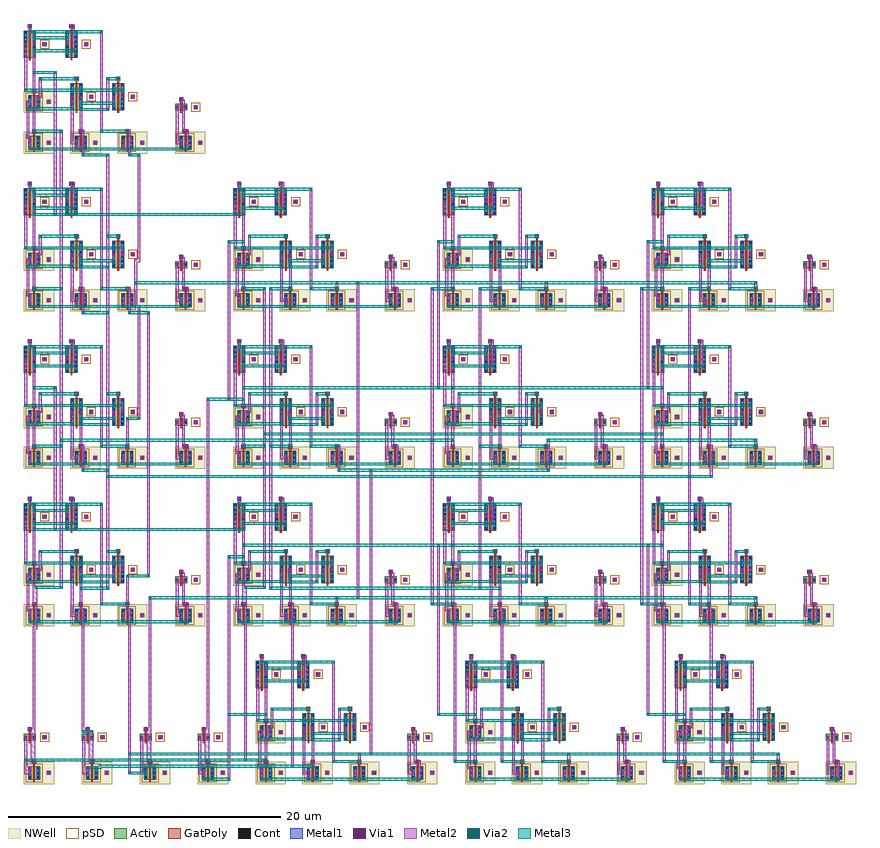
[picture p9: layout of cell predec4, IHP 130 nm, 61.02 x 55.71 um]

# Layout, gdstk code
import gdstk
lib = gdstk.Library(unit=1e-6, precision=1e-09)
def R(c, l, rs):  # rectangles x0, y0, x1, y1
    for r in rs: c.add(gdstk.rectangle(r[:2], r[2:], *l))
def A(c, l, x, y, w, h, nx, ny, dx, dy):  # array of equal rectangles
    R(c, l, [(x+i*dx, y+j*dy, x+i*dx+w, y+j*dy+h) for i in range(nx) for j in range(ny)])
Activ = (1, 0)
GatPoly = (5, 0)
Cont = (6, 0)
Metal1 = (8, 0)
Metal2 = (10, 0)
pSD = (14, 0)
Via1 = (19, 0)
Via2 = (29, 0)
Metal3 = (30, 0)
NWell = (31, 0)

sg13_lv_pmos_w1_l0p13 = lib.new_cell('sg13_lv_pmos_w1_l0p13')
R(sg13_lv_pmos_w1_l0p13, Activ, [(0,0,0.89,1), (1.37,0.35,1.67,0.65)])
R(sg13_lv_pmos_w1_l0p13, GatPoly, [(0.38,-0.18,0.51,1.2), (0.295,1.18,0.595,1.48)])
A(sg13_lv_pmos_w1_l0p13, Cont, 0.07, 0.08, 0.16, 0.16, 1, 3, 0, 0.34)
A(sg13_lv_pmos_w1_l0p13, Cont, 0.66, 0.08, 0.16, 0.16, 1, 3, 0, 0.34)
R(sg13_lv_pmos_w1_l0p13, Cont, [(1.44,0.42,1.6,0.58), (0.365,1.25,0.525,1.41)])
R(sg13_lv_pmos_w1_l0p13, Metal1, [(0.05,0.03,0.25,0.97), (0.64,0.03,0.84,0.97), (1.375,0.355,1.665,0.645), (0.315,1.2,0.575,1.46)])
R(sg13_lv_pmos_w1_l0p13, Metal2, [(1.375,0.355,1.665,0.645)])
R(sg13_lv_pmos_w1_l0p13, pSD, [(-0.18,-0.18,1.07,1.18)])
R(sg13_lv_pmos_w1_l0p13, Via1, [(1.425,0.405,1.615,0.595)])
R(sg13_lv_pmos_w1_l0p13, NWell, [(-0.31,-0.31,1.91,1.31)])

sg13_lv_nmos_w0p5_l0p13 = lib.new_cell('sg13_lv_nmos_w0p5_l0p13')
R(sg13_lv_nmos_w0p5_l0p13, Activ, [(0,0,0.89,0.5), (1.37,0.1,1.67,0.4)])
R(sg13_lv_nmos_w0p5_l0p13, GatPoly, [(0.38,-0.18,0.51,0.7), (0.295,0.68,0.595,0.98)])
R(sg13_lv_nmos_w0p5_l0p13, Cont, [(0.07,0.17,0.23,0.33), (0.66,0.17,0.82,0.33), (1.44,0.17,1.6,0.33), (0.365,0.75,0.525,0.91)])
R(sg13_lv_nmos_w0p5_l0p13, Metal1, [(1.375,0.105,1.665,0.395), (0.05,0.12,0.25,0.38), (0.64,0.12,0.84,0.38), (0.315,0.7,0.575,0.96)])
R(sg13_lv_nmos_w0p5_l0p13, Metal2, [(1.375,0.105,1.665,0.395)])
R(sg13_lv_nmos_w0p5_l0p13, pSD, [(1.19,-0.08,1.85,0.58)])
R(sg13_lv_nmos_w0p5_l0p13, Via1, [(1.425,0.155,1.615,0.345)])

inv = lib.new_cell('inv')
R(inv, Metal1, [(0.345,0.695,0.555,0.905), (0.645,1.545,0.855,1.755), (0.045,3.295,0.255,3.505), (0.345,3.895,0.555,4.105)])
R(inv, Metal2, [(0.05,0.7,0.25,3.5), (0.05,0.7,0.55,0.9), (0.35,0.7,0.55,0.9), (0.5,1.55,0.85,1.75), (0.5,1.55,0.7,3.95), (0.65,1.55,0.85,1.75), (0.05,3.3,0.25,3.5), (0.35,3.75,0.55,4.1), (0.35,3.75,0.7,3.95), (0.35,3.9,0.55,4.1)])
R(inv, Via1, [(0.355,0.705,0.545,0.895), (0.655,1.555,0.845,1.745), (0.055,3.305,0.245,3.495), (0.355,3.905,0.545,4.095)])
inv.add(gdstk.Reference(sg13_lv_pmos_w1_l0p13, (0.31,0.31)))
inv.add(gdstk.Reference(sg13_lv_nmos_w0p5_l0p13, (0,3.17)))
inv.add(gdstk.Label('Y', (0.46,0.81), layer=8, texttype=25))
inv.add(gdstk.Label('A', (0.755,1.64), layer=8, texttype=25))
inv.add(gdstk.Label('VDD', (1.05,0.81), layer=8, texttype=25))
inv.add(gdstk.Label('VDD', (1.83,0.81), layer=8, texttype=25))
inv.add(gdstk.Label('Y', (0.15,3.42), layer=8, texttype=25))
inv.add(gdstk.Label('A', (0.445,4), layer=8, texttype=25))
inv.add(gdstk.Label('VSS', (0.74,3.42), layer=8, texttype=25))
inv.add(gdstk.Label('VSS', (1.52,3.42), layer=8, texttype=25))

sg13_lv_nmos_w2_l0p13 = lib.new_cell('sg13_lv_nmos_w2_l0p13')
R(sg13_lv_nmos_w2_l0p13, Activ, [(0,0,0.89,2), (1.37,0.85,1.67,1.15)])
R(sg13_lv_nmos_w2_l0p13, GatPoly, [(0.38,-0.18,0.51,2.2), (0.295,2.18,0.595,2.48)])
A(sg13_lv_nmos_w2_l0p13, Cont, 0.07, 0.07, 0.16, 0.16, 1, 6, 0, 0.34)
A(sg13_lv_nmos_w2_l0p13, Cont, 0.66, 0.07, 0.16, 0.16, 1, 6, 0, 0.34)
R(sg13_lv_nmos_w2_l0p13, Cont, [(1.44,0.92,1.6,1.08), (0.365,2.25,0.525,2.41)])
R(sg13_lv_nmos_w2_l0p13, Metal1, [(0.05,0.02,0.25,1.98), (0.64,0.02,0.84,1.98), (1.375,0.855,1.665,1.145), (0.315,2.2,0.575,2.46)])
R(sg13_lv_nmos_w2_l0p13, Metal2, [(1.375,0.855,1.665,1.145)])
R(sg13_lv_nmos_w2_l0p13, pSD, [(1.19,0.67,1.85,1.33)])
R(sg13_lv_nmos_w2_l0p13, Via1, [(1.425,0.905,1.615,1.095)])

nand4 = lib.new_cell('nand4')
R(nand4, Metal1, [(0.345,0.695,0.555,0.905), (3.795,0.695,4.005,0.905), (7.195,0.695,7.405,0.905), (0.645,1.545,0.855,1.755), (4.095,1.545,4.305,1.755), (7.495,1.545,7.705,1.755), (0.345,3.695,0.555,3.905), (3.445,4.045,3.655,4.255), (4.045,4.045,4.255,4.255), (6.495,4.045,6.705,4.255), (7.095,4.045,7.305,4.255), (0.645,4.545,0.855,4.755), (3.745,5.395,3.955,5.605), (6.795,5.395,7.005,5.605), (0.045,7.945,0.255,8.155), (0.645,7.945,0.855,8.155), (3.095,7.945,3.305,8.155), (0.345,9.245,0.555,9.455), (3.395,9.245,3.605,9.455)])
R(nand4, Metal2, [(3.8,0.25,4,0.45), (3.8,0.25,4,0.9), (7.2,0.25,7.4,0.45), (7.2,0.25,7.4,0.9), (0.35,0.7,0.55,0.9), (0.35,0.7,0.55,1.3), (3.45,0.7,3.65,3.4), (3.45,0.7,4,0.9), (3.8,0.7,4,0.9), (7.2,0.7,7.4,0.9), (0.2,1.1,0.55,1.3), (0.2,1.1,0.4,3.9), (0.65,1.55,0.85,1.75), (0.65,1.55,0.85,3.45), (4.1,1.55,4.3,1.75), (4.1,1.55,4.3,3.35), (5.6,1.55,5.8,1.75), (5.6,1.55,5.8,9.05), (7.5,1.55,7.7,1.75), (7.5,1.55,7.7,1.75), (4.1,3.15,4.3,3.35), (6.05,3.15,6.25,3.35), (6.05,3.15,6.25,5.6), (0.2,3.2,0.4,3.4), (3.45,3.2,3.65,3.4), (3.45,3.2,3.65,4.25), (0.65,3.25,1,3.45), (0.8,3.25,1,4.3), (4.05,3.6,4.25,3.8), (4.05,3.6,4.25,4.25), (6.5,3.6,6.7,3.8), (6.5,3.6,6.7,4.25), (0.2,3.7,0.55,3.9), (0.35,3.7,0.55,3.9), (3.45,4.05,3.65,4.25), (4.05,4.05,4.25,4.25), (6.5,4.05,6.7,4.25), (7.1,4.05,7.3,4.25), (7.1,4.05,7.3,4.75), (0.8,4.1,1.3,4.3), (1.1,4.1,1.3,5.6), (0.05,4.55,0.25,4.75), (0.05,4.55,0.25,8.15), (0.65,4.55,0.85,4.75), (0.65,4.55,0.85,7.65), (7.1,4.55,7.3,4.75), (1.1,5.4,1.3,5.6), (3.75,5.4,3.95,5.6), (3.75,5.4,3.95,5.6), (6.05,5.4,6.25,5.6), (6.8,5.4,7,5.6), (6.8,5.4,7,5.6), (0.65,7.45,0.85,7.65), (3.55,7.45,3.75,7.65), (3.55,7.45,3.75,9.45), (0.05,7.95,0.25,8.15), (0.65,7.95,0.85,8.15), (0.65,7.95,0.85,8.6), (3.1,7.95,3.3,8.15), (3.1,7.95,3.3,8.6), (0.65,8.4,0.85,8.6), (3.1,8.4,3.3,8.6), (0.35,8.85,0.55,9.05), (0.35,8.85,0.55,9.45), (5.6,8.85,5.8,9.05), (0.35,9.25,0.55,9.45), (3.4,9.25,3.6,9.45), (3.4,9.25,3.75,9.45)])
R(nand4, Via1, [(0.355,0.705,0.545,0.895), (3.805,0.705,3.995,0.895), (7.205,0.705,7.395,0.895), (0.655,1.555,0.845,1.745), (4.105,1.555,4.295,1.745), (7.505,1.555,7.695,1.745), (0.355,3.705,0.545,3.895), (3.455,4.055,3.645,4.245), (4.055,4.055,4.245,4.245), (6.505,4.055,6.695,4.245), (7.105,4.055,7.295,4.245), (0.655,4.555,0.845,4.745), (3.755,5.405,3.945,5.595), (6.805,5.405,6.995,5.595), (0.055,7.955,0.245,8.145), (0.655,7.955,0.845,8.145), (3.105,7.955,3.295,8.145), (0.355,9.255,0.545,9.445), (3.405,9.255,3.595,9.445)])
R(nand4, Via2, [(3.805,0.255,3.995,0.445), (7.205,0.255,7.395,0.445), (5.605,1.555,5.795,1.745), (7.505,1.555,7.695,1.745), (4.105,3.155,4.295,3.345), (6.055,3.155,6.245,3.345), (0.205,3.205,0.395,3.395), (3.455,3.205,3.645,3.395), (4.055,3.605,4.245,3.795), (6.505,3.605,6.695,3.795), (0.055,4.555,0.245,4.745), (7.105,4.555,7.295,4.745), (1.105,5.405,1.295,5.595), (3.755,5.405,3.945,5.595), (6.055,5.405,6.245,5.595), (6.805,5.405,6.995,5.595), (0.655,7.455,0.845,7.645), (3.555,7.455,3.745,7.645), (0.655,8.405,0.845,8.595), (3.105,8.405,3.295,8.595), (0.355,8.855,0.545,9.045), (5.605,8.855,5.795,9.045)])
R(nand4, Metal3, [(3.8,0.25,4,0.45), (3.8,0.25,7.4,0.45), (7.2,0.25,7.4,0.45), (5.6,1.55,5.8,1.75), (5.6,1.55,7.7,1.75), (7.5,1.55,7.7,1.75), (4.1,3.15,4.3,3.35), (4.1,3.15,6.25,3.35), (6.05,3.15,6.25,3.35), (0.2,3.2,0.4,3.4), (0.2,3.2,3.65,3.4), (3.45,3.2,3.65,3.4), (4.05,3.6,4.25,3.8), (4.05,3.6,6.7,3.8), (6.5,3.6,6.7,3.8), (0.05,4.55,0.25,4.75), (0.05,4.55,7.3,4.75), (7.1,4.55,7.3,4.75), (1.1,5.4,1.3,5.6), (1.1,5.4,3.95,5.6), (3.75,5.4,3.95,5.6), (6.05,5.4,6.25,5.6), (6.05,5.4,7,5.6), (6.8,5.4,7,5.6), (0.65,7.45,0.85,7.65), (0.65,7.45,3.75,7.65), (3.55,7.45,3.75,7.65), (0.65,8.4,0.85,8.6), (0.65,8.4,3.3,8.6), (3.1,8.4,3.3,8.6), (0.35,8.85,0.55,9.05), (0.35,8.85,5.8,9.05), (5.6,8.85,5.8,9.05)])
nand4.add(gdstk.Reference(sg13_lv_pmos_w1_l0p13, (0.31,0.31)))
nand4.add(gdstk.Reference(sg13_lv_pmos_w1_l0p13, (3.73,0.31)))
nand4.add(gdstk.Reference(sg13_lv_pmos_w1_l0p13, (7.15,0.31)))
nand4.add(gdstk.Reference(sg13_lv_pmos_w1_l0p13, (0.31,3.3)))
nand4.add(gdstk.Reference(sg13_lv_nmos_w2_l0p13, (3.42,3.17)))
nand4.add(gdstk.Reference(sg13_lv_nmos_w2_l0p13, (6.47,3.17)))
nand4.add(gdstk.Reference(sg13_lv_nmos_w2_l0p13, (0,7.03)))
nand4.add(gdstk.Reference(sg13_lv_nmos_w2_l0p13, (3.05,7.03)))
nand4.add(gdstk.Label('Y', (0.46,0.81), layer=8, texttype=25))
nand4.add(gdstk.Label('A', (0.755,1.64), layer=8, texttype=25))
nand4.add(gdstk.Label('VDD', (1.05,0.81), layer=8, texttype=25))
nand4.add(gdstk.Label('VDD', (1.83,0.81), layer=8, texttype=25))
nand4.add(gdstk.Label('Y', (3.88,0.81), layer=8, texttype=25))
nand4.add(gdstk.Label('B', (4.175,1.64), layer=8, texttype=25))
nand4.add(gdstk.Label('VDD', (4.47,0.81), layer=8, texttype=25))
nand4.add(gdstk.Label('VDD', (5.25,0.81), layer=8, texttype=25))
nand4.add(gdstk.Label('Y', (7.3,0.81), layer=8, texttype=25))
nand4.add(gdstk.Label('C', (7.595,1.64), layer=8, texttype=25))
nand4.add(gdstk.Label('VDD', (7.89,0.81), layer=8, texttype=25))
nand4.add(gdstk.Label('VDD', (8.67,0.81), layer=8, texttype=25))
nand4.add(gdstk.Label('Y', (0.46,3.8), layer=8, texttype=25))
nand4.add(gdstk.Label('D', (0.755,4.63), layer=8, texttype=25))
nand4.add(gdstk.Label('VDD', (1.05,3.8), layer=8, texttype=25))
nand4.add(gdstk.Label('VDD', (1.83,3.8), layer=8, texttype=25))
nand4.add(gdstk.Label('Y', (3.57,4.17), layer=8, texttype=25))
nand4.add(gdstk.Label('A', (3.865,5.5), layer=8, texttype=25))
nand4.add(gdstk.Label('N1', (4.16,4.17), layer=8, texttype=25))
nand4.add(gdstk.Label('VSS', (4.94,4.17), layer=8, texttype=25))
nand4.add(gdstk.Label('N1', (6.62,4.17), layer=8, texttype=25))
nand4.add(gdstk.Label('B', (6.915,5.5), layer=8, texttype=25))
nand4.add(gdstk.Label('N2', (7.21,4.17), layer=8, texttype=25))
nand4.add(gdstk.Label('VSS', (7.99,4.17), layer=8, texttype=25))
nand4.add(gdstk.Label('N2', (0.15,8.03), layer=8, texttype=25))
nand4.add(gdstk.Label('C', (0.445,9.36), layer=8, texttype=25))
nand4.add(gdstk.Label('N3', (0.74,8.03), layer=8, texttype=25))
nand4.add(gdstk.Label('VSS', (1.52,8.03), layer=8, texttype=25))
nand4.add(gdstk.Label('N3', (3.2,8.03), layer=8, texttype=25))
nand4.add(gdstk.Label('D', (3.495,9.36), layer=8, texttype=25))
nand4.add(gdstk.Label('VSS', (3.79,8.03), layer=8, texttype=25))
nand4.add(gdstk.Label('VSS', (4.57,8.03), layer=8, texttype=25))

predec4 = lib.new_cell('predec4')
A(predec4, Metal2, 17.35, 0.25, 0.2, 0.65, 3, 1, 15.35, 0)
A(predec4, Metal2, 28.9, 0.25, 0.2, 1.5, 3, 1, 15.35, 0)
A(predec4, Metal2, 24.5, 1.55, 0.2, 0.75, 3, 1, 15.35, 0)
A(predec4, Metal2, 28.75, 1.55, 0.35, 0.2, 3, 1, 15.35, 0)
A(predec4, Metal2, 17.65, 4.55, 0.2, 0.65, 3, 1, 15.35, 0)
A(predec4, Metal2, 14.95, 5, 0.2, 0.2, 1, 4, 0, 11.55)
A(predec4, Metal2, 0.35, 11.8, 0.2, 0.2, 1, 4, 0, 11.55)
A(predec4, Metal2, 0.35, 11.8, 0.2, 0.65, 4, 3, 15.35, 11.55)
A(predec4, Metal2, 11.9, 11.8, 0.2, 0.2, 1, 4, 0, 11.55)
A(predec4, Metal2, 11.9, 11.8, 0.2, 1.5, 4, 3, 15.35, 11.55)
A(predec4, Metal2, 15.7, 11.8, 0.2, 0.2, 1, 3, 0, 11.55)
A(predec4, Metal2, 27.25, 11.8, 0.2, 0.2, 1, 3, 0, 11.55)
A(predec4, Metal2, 31.05, 11.8, 0.2, 0.2, 1, 3, 0, 11.55)
A(predec4, Metal2, 42.6, 11.8, 0.2, 0.2, 1, 3, 0, 11.55)
A(predec4, Metal2, 46.4, 11.8, 0.2, 0.2, 1, 3, 0, 11.55)
A(predec4, Metal2, 57.95, 11.8, 0.2, 0.2, 1, 3, 0, 11.55)
A(predec4, Metal2, 4.1, 13.1, 0.2, 1.35, 3, 1, 15.35, 0)
A(predec4, Metal2, 22.85, 13.1, 0.2, 0.65, 3, 2, 15.35, 23.1)
A(predec4, Metal2, 53.55, 13.55, 0.2, 0.2, 1, 3, 0, 11.55)
A(predec4, Metal2, 4.25, 22.9, 0.2, 0.2, 1, 3, 0, 11.55)
A(predec4, Metal2, 4.25, 22.9, 0.2, 1.95, 1, 3, 0, 11.55)
A(predec4, Metal2, 6.05, 22.9, 0.2, 0.2, 1, 3, 0, 11.55)
A(predec4, Metal2, 4.1, 24.65, 0.35, 0.2, 1, 3, 0, 11.55)
A(predec4, Metal2, 11.75, 36.2, 0.35, 0.2, 4, 1, 15.35, 0)
R(predec4, Metal2, [(13.1,0.25,13.3,0.45), (13.1,0.25,13.3,0.9), (14.95,0.25,15.15,0.45), (14.95,0.25,15.15,5.2), (17.35,0.25,17.55,0.45), (28.9,0.25,29.1,0.45), (32.7,0.25,32.9,0.45), (44.25,0.25,44.45,0.45), (48.05,0.25,48.25,0.45), (59.6,0.25,59.8,0.45), (0.35,0.7,0.55,1.3), (4.6,0.7,4.8,1.3), (7.65,0.7,7.85,0.9), (7.65,0.7,7.85,12.9), (8.85,0.7,9.05,0.9), (0.25,0.9,0.35,1.1), (4.5,0.9,4.6,1.3), (0.05,1.1,0.25,1.85), (0.05,1.1,0.55,1.3), (4.6,1.1,4.8,1.3), (19.6,1.2,19.8,1.4), (19.6,1.2,19.8,13.3), (21.1,1.2,21.3,1.4), (21.1,1.2,21.3,1.75), (0.65,1.55,0.85,11.55), (4.9,1.55,5.1,3.95), (9.15,1.55,9.35,13.75), (13.4,1.55,13.6,28.3), (17.65,1.55,17.85,1.85), (31.5,1.55,31.7,13.3), (31.5,1.55,31.7,1.75), (33,1.55,33.2,1.75), (34.95,1.55,35.15,1.75), (34.95,1.55,35.15,12.9), (36.45,1.55,36.65,1.75), (46.85,1.55,47.05,13.3), (46.85,1.55,47.05,1.75), (48.35,1.55,48.55,1.75), (50.3,1.55,50.5,1.75), (50.3,1.55,50.5,12.9), (51.8,1.55,52,1.75), (0.05,1.65,0.25,1.85), (16.15,1.65,16.35,1.85), (16.15,1.65,16.35,13.3), (17.65,1.65,17.85,1.85), (7.65,2.1,7.85,2.3), (24.5,2.1,24.7,2.3), (25.35,2.1,25.55,2.3), (25.35,2.1,25.55,23.1), (39.85,2.1,40.05,2.3), (55.2,2.1,55.4,2.3), (4.25,3.75,4.45,3.95), (4.25,3.75,4.45,12.9), (4.45,3.75,4.6,4.1), (4.9,3.75,5.1,3.95), (0.55,3.95,0.65,4.1), (9.05,3.95,9.15,4.1), (13.3,3.95,13.4,4.1), (14.95,5,15.15,16.75), (17.65,5,17.85,5.2), (30.3,5,30.5,5.2), (30.3,5,30.5,17.6), (33,5,33.2,5.2), (45.65,5,45.85,5.2), (45.65,5,45.85,17.6), (48.35,5,48.55,5.2), (0.65,11.35,1,11.55), (0.8,11.35,1,13.3), (4.1,12.7,4.45,12.9), (4.1,12.7,4.3,13.3), (7.5,12.7,7.85,12.9), (7.5,12.7,7.7,13.3), (34.8,12.7,35.15,12.9), (34.8,12.7,35,13.3), (50.15,12.7,50.5,12.9), (50.15,12.7,50.35,13.3), (0.65,13.1,1,13.3), (0.8,13.1,1,14.5), (7.5,13.1,7.7,15.35), (11.75,13.1,12.1,13.3), (16,13.1,16.35,13.3), (16.15,13.1,16.35,14.5), (19.45,13.1,19.8,13.3), (27.1,13.1,27.45,13.3), (29.85,13.1,30.05,13.3), (29.85,13.1,30.05,25.3), (31.35,13.1,31.55,13.3), (31.35,13.1,31.7,13.3), (42.45,13.1,42.8,13.3), (45.2,13.1,45.4,13.3), (45.2,13.1,45.4,25.75), (46.7,13.1,46.9,13.3), (46.7,13.1,47.05,13.3), (48.7,13.1,48.9,13.3), (48.7,13.1,48.9,22.65), (50.15,13.1,50.35,13.3), (57.8,13.1,58.15,13.3), (9.15,13.55,9.35,13.75), (22.85,13.55,23.05,13.75), (24.4,13.55,24.6,13.75), (24.4,13.55,24.6,36.85), (38.2,13.55,38.4,13.75), (4.1,14.25,4.3,14.45), (6.05,14.25,6.25,14.45), (6.05,14.25,6.25,23.1), (18,14.25,18.2,24.85), (18,14.25,18.2,14.45), (19.45,14.25,19.65,14.45), (33.35,14.25,33.55,24.85), (33.35,14.25,33.55,14.45), (34.8,14.25,35,14.45), (0.8,14.3,1,14.5), (2.65,14.3,2.85,14.5), (2.65,14.3,2.85,24.85), (16.15,14.3,16.35,14.5), (17.55,14.3,17.75,14.5), (17.55,14.3,17.75,24.85), (7.5,15.15,7.7,15.35), (9.05,15.15,9.25,34.65), (9.05,15.15,9.25,15.35), (0.65,16.1,0.85,18.75), (16,16.1,16.2,18.75), (31.35,16.1,31.55,17.6), (46.7,16.1,46.9,17.6), (16,16.55,16.2,16.75), (16,17.4,16.2,17.6), (30.3,17.4,30.5,17.6), (31.35,17.4,31.55,17.6), (45.65,17.4,45.85,17.6), (46.7,17.4,46.9,17.6), (0.65,18.55,0.85,18.75), (2.2,18.55,2.4,29.15), (2.2,18.55,2.4,18.75), (16,18.55,16.2,18.75), (6.05,22.45,6.25,22.65), (48.7,22.45,48.9,22.65), (48.7,22.45,48.9,36.4), (50.3,22.45,50.5,22.65), (50.3,22.45,50.5,24.85), (6.05,22.9,6.25,34.65), (23,22.9,23.2,23.1), (23,22.9,23.2,24.85), (25.35,22.9,25.55,23.1), (38.35,22.9,38.55,23.1), (38.35,22.9,38.55,24.85), (0.65,24.65,0.85,24.85), (2.65,24.65,2.85,36.4), (2.65,24.65,2.85,24.85), (7.5,24.65,7.7,26.9), (11.75,24.65,12.1,24.85), (16,24.65,16.2,24.85), (17.55,24.65,17.75,36.4), (17.55,24.65,17.75,24.85), (18,24.65,18.2,36.4), (18,24.65,18.2,24.85), (19.45,24.65,19.65,24.85), (22.85,24.65,23.2,24.85), (27.1,24.65,27.45,24.85), (31.35,24.65,31.55,25.3), (33.35,24.65,33.55,36.4), (33.35,24.65,33.55,24.85), (34.8,24.65,35,24.85), (38.2,24.65,38.55,24.85), (38.35,24.65,38.55,25.3), (42.45,24.65,42.8,24.85), (46.7,24.65,46.9,25.75), (50.15,24.65,50.5,24.85), (53.55,24.65,53.75,25.3), (57.8,24.65,58.15,24.85), (2.65,25.1,2.85,25.3), (29.85,25.1,30.05,25.3), (29.85,25.1,30.05,36.4), (31.35,25.1,31.55,25.3), (38.35,25.1,38.55,25.3), (17.55,25.55,17.75,25.75), (45.2,25.55,45.4,36.4), (45.2,25.55,45.4,25.75), (46.7,25.55,46.9,25.75), (7.5,26.7,7.7,26.9), (8.35,26.7,8.55,26.9), (8.35,26.7,8.55,35.1), (0.65,27.65,0.85,29.15), (16,27.65,16.2,28.3), (31.35,27.65,31.55,29.15), (46.7,27.65,46.9,29.15), (13.4,28.1,13.6,28.3), (14.95,28.1,15.15,39.85), (16,28.1,16.2,28.3), (16,28.1,16.2,29.15), (0.65,28.95,0.85,29.15), (2.2,28.95,2.4,29.15), (16,28.95,16.2,29.15), (30.3,28.95,30.5,29.15), (30.3,28.95,30.5,39.85), (31.35,28.95,31.55,29.15), (45.65,28.95,45.85,29.15), (45.65,28.95,45.85,39.85), (46.7,28.95,46.9,29.15), (6.05,34.45,6.25,46.2), (7.65,34.45,7.85,34.65), (7.65,34.45,7.85,36.4), (9.05,34.45,9.25,34.65), (8.1,34.9,8.55,35.1), (8.1,34.9,8.3,38.45), (0.65,36.2,0.85,36.4), (2.65,36.2,2.85,47.95), (2.65,36.2,2.85,36.4), (7.5,36.2,7.85,36.4), (16,36.2,16.2,36.4), (17.55,36.2,17.75,36.4), (18,36.2,18.2,36.4), (19.45,36.2,19.65,36.4), (29.85,36.2,30.05,36.4), (31.35,36.2,31.55,36.4), (33.35,36.2,33.55,36.4), (34.8,36.2,35,36.4), (45.2,36.2,45.4,36.4), (46.7,36.2,46.9,36.4), (48.7,36.2,48.9,36.4), (50.15,36.2,50.35,36.4), (8.1,36.65,8.3,36.85), (22.85,36.65,23.05,36.85), (24.4,36.65,24.6,36.85), (38.2,36.65,38.4,36.85), (8.1,38.25,8.55,38.45), (8.35,38.25,8.55,46.2), (0.65,39.2,0.85,41.85), (16,39.2,16.2,41.85), (31.35,39.2,31.55,39.85), (46.7,39.2,46.9,39.85), (16,39.65,16.2,39.85), (30.3,39.65,30.5,39.85), (31.35,39.65,31.55,39.85), (45.65,39.65,45.85,39.85), (46.7,39.65,46.9,39.85), (0.65,41.65,0.85,41.85), (2.2,41.65,2.4,52.25), (2.2,41.65,2.4,41.85), (16,41.65,16.2,41.85), (7.65,46,7.85,46.2), (7.65,46,7.85,47.95), (8.35,46,8.55,46.2), (0.35,46.45,0.55,47.1), (11.9,46.45,12.1,47.95), (0.65,47.75,0.85,47.95), (2.65,47.75,2.85,47.95), (7.5,47.75,7.85,47.95), (11.75,47.75,12.1,47.95), (0.65,50.75,0.85,52.25), (0.65,52.05,0.85,52.25), (2.2,52.05,2.4,52.25)])
A(predec4, Via2, 14.955, 5.005, 0.19, 0.19, 1, 4, 0, 11.55)
A(predec4, Via2, 0.355, 11.805, 0.19, 0.19, 1, 4, 0, 11.55)
A(predec4, Via2, 11.905, 11.805, 0.19, 0.19, 1, 4, 0, 11.55)
A(predec4, Via2, 15.705, 11.805, 0.19, 0.19, 1, 3, 0, 11.55)
A(predec4, Via2, 27.255, 11.805, 0.19, 0.19, 1, 3, 0, 11.55)
A(predec4, Via2, 31.055, 11.805, 0.19, 0.19, 1, 3, 0, 11.55)
A(predec4, Via2, 42.605, 11.805, 0.19, 0.19, 1, 3, 0, 11.55)
A(predec4, Via2, 46.405, 11.805, 0.19, 0.19, 1, 3, 0, 11.55)
A(predec4, Via2, 57.955, 11.805, 0.19, 0.19, 1, 3, 0, 11.55)
A(predec4, Via2, 53.555, 13.555, 0.19, 0.19, 1, 3, 0, 11.55)
A(predec4, Via2, 4.255, 22.905, 0.19, 0.19, 1, 3, 0, 11.55)
A(predec4, Via2, 6.055, 22.905, 0.19, 0.19, 1, 3, 0, 11.55)
R(predec4, Via2, [(13.105,0.255,13.295,0.445), (14.955,0.255,15.145,0.445), (17.355,0.255,17.545,0.445), (28.905,0.255,29.095,0.445), (32.705,0.255,32.895,0.445), (44.255,0.255,44.445,0.445), (48.055,0.255,48.245,0.445), (59.605,0.255,59.795,0.445), (7.655,0.705,7.845,0.895), (8.855,0.705,9.045,0.895), (4.605,1.105,4.795,1.295), (19.605,1.205,19.795,1.395), (21.105,1.205,21.295,1.395), (31.505,1.555,31.695,1.745), (33.005,1.555,33.195,1.745), (34.955,1.555,35.145,1.745), (36.455,1.555,36.645,1.745), (46.855,1.555,47.045,1.745), (48.355,1.555,48.545,1.745), (50.305,1.555,50.495,1.745), (51.805,1.555,51.995,1.745), (0.055,1.655,0.245,1.845), (16.155,1.655,16.345,1.845), (17.655,1.655,17.845,1.845), (7.655,2.105,7.845,2.295), (24.505,2.105,24.695,2.295), (25.355,2.105,25.545,2.295), (39.855,2.105,40.045,2.295), (55.205,2.105,55.395,2.295), (4.255,3.755,4.445,3.945), (4.905,3.755,5.095,3.945), (17.655,5.005,17.845,5.195), (30.305,5.005,30.495,5.195), (33.005,5.005,33.195,5.195), (45.655,5.005,45.845,5.195), (48.355,5.005,48.545,5.195), (29.855,13.105,30.045,13.295), (31.355,13.105,31.545,13.295), (45.205,13.105,45.395,13.295), (46.705,13.105,46.895,13.295), (48.705,13.105,48.895,13.295), (50.155,13.105,50.345,13.295), (9.155,13.555,9.345,13.745), (22.855,13.555,23.045,13.745), (24.405,13.555,24.595,13.745), (38.205,13.555,38.395,13.745), (4.105,14.255,4.295,14.445), (6.055,14.255,6.245,14.445), (18.005,14.255,18.195,14.445), (19.455,14.255,19.645,14.445), (33.355,14.255,33.545,14.445), (34.805,14.255,34.995,14.445), (0.805,14.305,0.995,14.495), (2.655,14.305,2.845,14.495), (16.155,14.305,16.345,14.495), (17.555,14.305,17.745,14.495), (7.505,15.155,7.695,15.345), (9.055,15.155,9.245,15.345), (16.005,16.555,16.195,16.745), (16.005,17.405,16.195,17.595), (30.305,17.405,30.495,17.595), (31.355,17.405,31.545,17.595), (45.655,17.405,45.845,17.595), (46.705,17.405,46.895,17.595), (0.655,18.555,0.845,18.745), (2.205,18.555,2.395,18.745), (16.005,18.555,16.195,18.745), (6.055,22.455,6.245,22.645), (48.705,22.455,48.895,22.645), (50.305,22.455,50.495,22.645), (23.005,22.905,23.195,23.095), (25.355,22.905,25.545,23.095), (38.355,22.905,38.545,23.095), (0.655,24.655,0.845,24.845), (2.655,24.655,2.845,24.845), (16.005,24.655,16.195,24.845), (17.555,24.655,17.745,24.845), (18.005,24.655,18.195,24.845), (19.455,24.655,19.645,24.845), (33.355,24.655,33.545,24.845), (34.805,24.655,34.995,24.845), (2.655,25.105,2.845,25.295), (29.855,25.105,30.045,25.295), (31.355,25.105,31.545,25.295), (38.355,25.105,38.545,25.295), (17.555,25.555,17.745,25.745), (45.205,25.555,45.395,25.745), (46.705,25.555,46.895,25.745), (7.505,26.705,7.695,26.895), (8.355,26.705,8.545,26.895), (13.405,28.105,13.595,28.295), (16.005,28.105,16.195,28.295), (0.655,28.955,0.845,29.145), (2.205,28.955,2.395,29.145), (16.005,28.955,16.195,29.145), (30.305,28.955,30.495,29.145), (31.355,28.955,31.545,29.145), (45.655,28.955,45.845,29.145), (46.705,28.955,46.895,29.145), (7.655,34.455,7.845,34.645), (9.055,34.455,9.245,34.645), (0.655,36.205,0.845,36.395), (2.655,36.205,2.845,36.395), (16.005,36.205,16.195,36.395), (17.555,36.205,17.745,36.395), (18.005,36.205,18.195,36.395), (19.455,36.205,19.645,36.395), (29.855,36.205,30.045,36.395), (31.355,36.205,31.545,36.395), (33.355,36.205,33.545,36.395), (34.805,36.205,34.995,36.395), (45.205,36.205,45.395,36.395), (46.705,36.205,46.895,36.395), (48.705,36.205,48.895,36.395), (50.155,36.205,50.345,36.395), (8.105,36.655,8.295,36.845), (22.855,36.655,23.045,36.845), (24.405,36.655,24.595,36.845), (38.205,36.655,38.395,36.845), (16.005,39.655,16.195,39.845), (30.305,39.655,30.495,39.845), (31.355,39.655,31.545,39.845), (45.655,39.655,45.845,39.845), (46.705,39.655,46.895,39.845), (0.655,41.655,0.845,41.845), (2.205,41.655,2.395,41.845), (16.005,41.655,16.195,41.845), (7.655,46.005,7.845,46.195), (8.355,46.005,8.545,46.195), (0.655,47.755,0.845,47.945), (2.655,47.755,2.845,47.945), (0.655,52.055,0.845,52.245), (2.205,52.055,2.395,52.245)])
A(predec4, Metal3, 17.35, 0.25, 11.75, 0.2, 3, 1, 15.35, 0)
A(predec4, Metal3, 14.95, 5, 0.2, 0.2, 1, 4, 0, 11.55)
A(predec4, Metal3, 14.95, 5, 2.9, 0.2, 3, 1, 15.35, 0)
A(predec4, Metal3, 0.35, 11.8, 0.2, 0.2, 1, 4, 0, 11.55)
A(predec4, Metal3, 0.35, 11.8, 11.75, 0.2, 4, 3, 15.35, 11.55)
A(predec4, Metal3, 11.9, 11.8, 0.2, 0.2, 1, 4, 0, 11.55)
A(predec4, Metal3, 15.7, 11.8, 0.2, 0.2, 1, 3, 0, 11.55)
A(predec4, Metal3, 27.25, 11.8, 0.2, 0.2, 1, 3, 0, 11.55)
A(predec4, Metal3, 31.05, 11.8, 0.2, 0.2, 1, 3, 0, 11.55)
A(predec4, Metal3, 42.6, 11.8, 0.2, 0.2, 1, 3, 0, 11.55)
A(predec4, Metal3, 46.4, 11.8, 0.2, 0.2, 1, 3, 0, 11.55)
A(predec4, Metal3, 57.95, 11.8, 0.2, 0.2, 1, 3, 0, 11.55)
A(predec4, Metal3, 53.55, 13.55, 0.2, 0.2, 1, 3, 0, 11.55)
A(predec4, Metal3, 4.25, 22.9, 0.2, 0.2, 1, 3, 0, 11.55)
A(predec4, Metal3, 4.25, 22.9, 2, 0.2, 1, 3, 0, 11.55)
A(predec4, Metal3, 6.05, 22.9, 0.2, 0.2, 1, 3, 0, 11.55)
A(predec4, Metal3, 0.65, 24.65, 2.2, 0.2, 1, 3, 0, 11.55)
A(predec4, Metal3, 18, 36.2, 1.65, 0.2, 3, 1, 15.35, 0)
A(predec4, Metal3, 14.95, 39.65, 1.25, 0.2, 3, 1, 15.35, 0)
R(predec4, Metal3, [(13.1,0.25,13.3,0.45), (13.1,0.25,15.15,0.45), (14.95,0.25,15.15,0.45), (17.35,0.25,17.55,0.45), (28.9,0.25,29.1,0.45), (32.7,0.25,32.9,0.45), (44.25,0.25,44.45,0.45), (48.05,0.25,48.25,0.45), (59.6,0.25,59.8,0.45), (7.65,0.7,7.85,0.9), (7.65,0.7,9.05,0.9), (8.85,0.7,9.05,0.9), (4.6,1.1,4.8,1.3), (4.6,1.1,5.7,1.3), (5.5,1.1,5.7,1.4), (5.5,1.2,21.3,1.4), (19.6,1.2,19.8,1.4), (21.1,1.2,21.3,1.4), (31.5,1.55,31.7,1.75), (31.5,1.55,33.2,1.75), (33,1.55,33.2,1.75), (34.95,1.55,35.15,1.75), (34.95,1.55,36.65,1.75), (36.45,1.55,36.65,1.75), (46.85,1.55,47.05,1.75), (46.85,1.55,48.55,1.75), (48.35,1.55,48.55,1.75), (50.3,1.55,50.5,1.75), (50.3,1.55,52,1.75), (51.8,1.55,52,1.75), (0.05,1.65,0.25,1.85), (0.05,1.65,17.85,1.85), (16.15,1.65,16.35,1.85), (17.65,1.65,17.85,1.85), (7.65,2.1,7.85,2.3), (7.65,2.1,24.7,2.3), (24.5,2.1,40.05,2.3), (24.5,2.1,24.7,2.3), (25.35,2.1,25.55,2.3), (39.85,2.1,55.4,2.3), (39.85,2.1,40.05,2.3), (55.2,2.1,55.4,2.3), (4.25,3.75,4.45,3.95), (4.25,3.75,5.1,3.95), (4.9,3.75,5.1,3.95), (17.65,5,17.85,5.2), (30.3,5,30.5,5.2), (33,5,33.2,5.2), (45.65,5,45.85,5.2), (48.35,5,48.55,5.2), (29.85,13.1,30.05,13.3), (29.85,13.1,31.55,13.3), (31.35,13.1,31.55,13.3), (45.2,13.1,45.4,13.3), (45.2,13.1,46.9,13.3), (46.7,13.1,46.9,13.3), (48.7,13.1,48.9,13.3), (48.7,13.1,50.35,13.3), (50.15,13.1,50.35,13.3), (9.15,13.55,9.35,13.75), (9.15,13.55,23.05,13.75), (22.85,13.55,23.05,13.75), (22.85,13.55,24.6,13.75), (24.4,13.55,24.6,13.75), (24.4,13.55,38.4,13.75), (38.2,13.55,53.75,13.75), (38.2,13.55,38.4,13.75), (4.1,14.25,4.3,14.45), (4.1,14.25,6.25,14.45), (6.05,14.25,6.25,14.45), (18,14.25,18.2,14.45), (18,14.25,19.65,14.45), (19.45,14.25,35,14.45), (19.45,14.25,19.65,14.45), (33.35,14.25,33.55,14.45), (34.8,14.25,35,14.45), (0.8,14.3,1,14.5), (0.8,14.3,2.85,14.5), (2.65,14.3,2.85,14.5), (16.15,14.3,16.35,14.5), (16.15,14.3,17.75,14.5), (17.55,14.3,17.75,14.5), (7.5,15.15,7.7,15.35), (7.5,15.15,9.25,15.35), (9.05,15.15,9.25,15.35), (14.95,16.55,16.2,16.75), (16,16.55,16.2,16.75), (16,17.4,31.55,17.6), (16,17.4,16.2,17.6), (30.3,17.4,30.5,17.6), (31.35,17.4,46.9,17.6), (31.35,17.4,31.55,17.6), (45.65,17.4,45.85,17.6), (46.7,17.4,46.9,17.6), (0.65,18.55,0.85,18.75), (0.65,18.55,2.4,18.75), (2.2,18.55,2.4,18.75), (2.2,18.55,16.2,18.75), (16,18.55,16.2,18.75), (6.05,22.45,6.25,22.65), (6.05,22.45,50.5,22.65), (48.7,22.45,48.9,22.65), (50.3,22.45,50.5,22.65), (23,22.9,23.2,23.1), (23,22.9,25.55,23.1), (25.35,22.9,38.55,23.1), (25.35,22.9,25.55,23.1), (38.35,22.9,38.55,23.1), (0.65,24.65,0.85,24.85), (2.65,24.65,2.85,24.85), (16,24.65,16.2,24.85), (16,24.65,17.75,24.85), (17.55,24.65,17.75,24.85), (18,24.65,18.2,24.85), (18,24.65,19.65,24.85), (19.45,24.65,19.65,24.85), (33.35,24.65,33.55,24.85), (33.35,24.65,35,24.85), (34.8,24.65,35,24.85), (2.65,25.1,31.55,25.3), (2.65,25.1,2.85,25.3), (29.85,25.1,30.05,25.3), (31.35,25.1,31.55,25.3), (38.35,25.1,38.55,25.3), (38.35,25.1,53.75,25.3), (17.55,25.55,46.9,25.75), (17.55,25.55,17.75,25.75), (45.2,25.55,45.4,25.75), (46.7,25.55,46.9,25.75), (7.5,26.7,7.7,26.9), (7.5,26.7,8.55,26.9), (8.35,26.7,8.55,26.9), (13.4,28.1,13.6,28.3), (13.4,28.1,15.15,28.3), (14.95,28.1,16.2,28.3), (16,28.1,16.2,28.3), (0.65,28.95,0.85,29.15), (0.65,28.95,2.4,29.15), (2.2,28.95,2.4,29.15), (16,28.95,31.55,29.15), (16,28.95,16.2,29.15), (30.3,28.95,30.5,29.15), (31.35,28.95,46.9,29.15), (31.35,28.95,31.55,29.15), (45.65,28.95,45.85,29.15), (46.7,28.95,46.9,29.15), (7.65,34.45,7.85,34.65), (7.65,34.45,9.25,34.65), (9.05,34.45,9.25,34.65), (0.65,36.2,0.85,36.4), (2.65,36.2,2.85,36.4), (16,36.2,16.2,36.4), (16,36.2,17.75,36.4), (17.55,36.2,17.75,36.4), (18,36.2,18.2,36.4), (19.45,36.2,19.65,36.4), (29.85,36.2,30.05,36.4), (29.85,36.2,31.55,36.4), (31.35,36.2,31.55,36.4), (33.35,36.2,33.55,36.4), (34.8,36.2,35,36.4), (45.2,36.2,45.4,36.4), (45.2,36.2,46.9,36.4), (46.7,36.2,46.9,36.4), (48.7,36.2,48.9,36.4), (50.15,36.2,50.35,36.4), (8.1,36.65,8.3,36.85), (8.1,36.65,23.05,36.85), (22.85,36.65,38.4,36.85), (22.85,36.65,23.05,36.85), (24.4,36.65,24.6,36.85), (38.2,36.65,53.75,36.85), (38.2,36.65,38.4,36.85), (16,39.65,16.2,39.85), (30.3,39.65,30.5,39.85), (31.35,39.65,31.55,39.85), (45.65,39.65,45.85,39.85), (46.7,39.65,46.9,39.85), (0.65,41.65,0.85,41.85), (0.65,41.65,2.4,41.85), (2.2,41.65,2.4,41.85), (2.2,41.65,16.2,41.85), (16,41.65,16.2,41.85), (7.65,46,7.85,46.2), (7.65,46,8.55,46.2), (8.35,46,8.55,46.2), (0.35,46.45,12.1,46.65), (0.65,47.75,0.85,47.95), (2.65,47.75,2.85,47.95), (0.65,52.05,0.85,52.25), (0.65,52.05,2.4,52.25), (2.2,52.05,2.4,52.25)])
predec4.add(gdstk.Reference(inv, (0,0)))
predec4.add(gdstk.Reference(inv, (4.25,0)))
predec4.add(gdstk.Reference(inv, (8.5,0)))
predec4.add(gdstk.Reference(inv, (12.75,0)))
predec4.add(gdstk.Reference(nand4, (17,0)))
predec4.add(gdstk.Reference(inv, (28.1,0)))
predec4.add(gdstk.Reference(nand4, (32.35,0)))
predec4.add(gdstk.Reference(inv, (43.45,0)))
predec4.add(gdstk.Reference(nand4, (47.7,0)))
predec4.add(gdstk.Reference(inv, (58.8,0)))
predec4.add(gdstk.Reference(nand4, (0,11.55)))
predec4.add(gdstk.Reference(inv, (11.1,11.55)))
predec4.add(gdstk.Reference(nand4, (15.35,11.55)))
predec4.add(gdstk.Reference(inv, (26.45,11.55)))
predec4.add(gdstk.Reference(nand4, (30.7,11.55)))
predec4.add(gdstk.Reference(inv, (41.8,11.55)))
predec4.add(gdstk.Reference(nand4, (46.05,11.55)))
predec4.add(gdstk.Reference(inv, (57.15,11.55)))
predec4.add(gdstk.Reference(nand4, (0,23.1)))
predec4.add(gdstk.Reference(inv, (11.1,23.1)))
predec4.add(gdstk.Reference(nand4, (15.35,23.1)))
predec4.add(gdstk.Reference(inv, (26.45,23.1)))
predec4.add(gdstk.Reference(nand4, (30.7,23.1)))
predec4.add(gdstk.Reference(inv, (41.8,23.1)))
predec4.add(gdstk.Reference(nand4, (46.05,23.1)))
predec4.add(gdstk.Reference(inv, (57.15,23.1)))
predec4.add(gdstk.Reference(nand4, (0,34.65)))
predec4.add(gdstk.Reference(inv, (11.1,34.65)))
predec4.add(gdstk.Reference(nand4, (15.35,34.65)))
predec4.add(gdstk.Reference(inv, (26.45,34.65)))
predec4.add(gdstk.Reference(nand4, (30.7,34.65)))
predec4.add(gdstk.Reference(inv, (41.8,34.65)))
predec4.add(gdstk.Reference(nand4, (46.05,34.65)))
predec4.add(gdstk.Reference(inv, (57.15,34.65)))
predec4.add(gdstk.Reference(nand4, (0,46.2)))
predec4.add(gdstk.Reference(inv, (11.1,46.2)))

lib.write_gds('predec4.gds')
